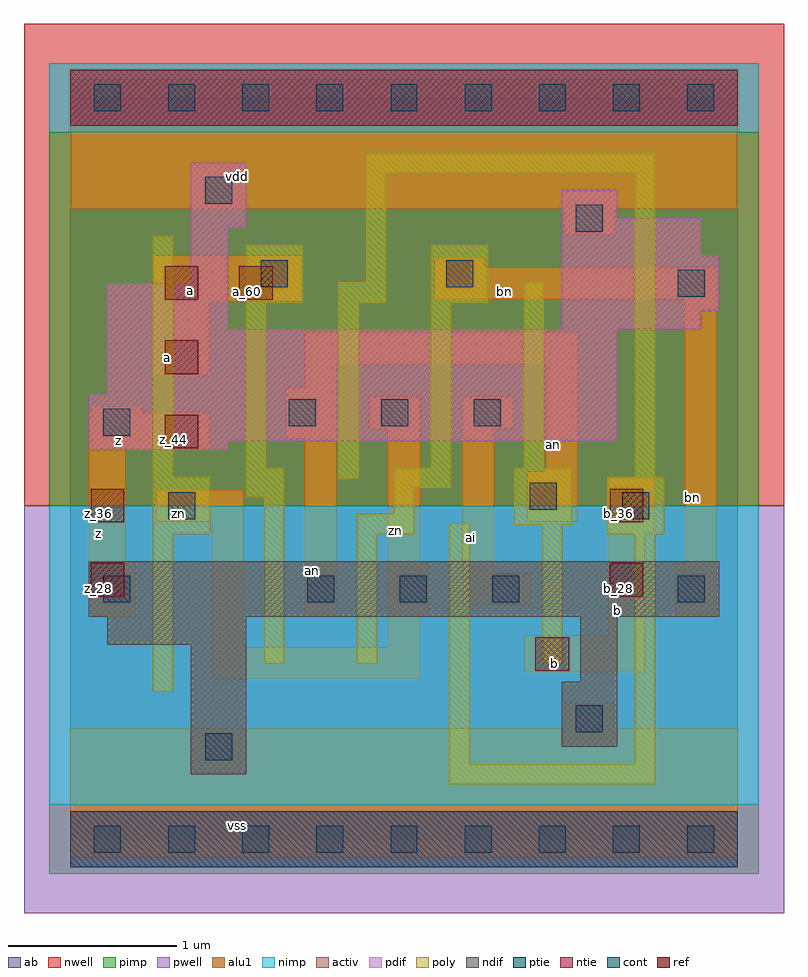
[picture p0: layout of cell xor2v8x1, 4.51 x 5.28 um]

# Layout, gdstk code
import gdstk
lib = gdstk.Library(unit=1e-6, precision=2.5e-09)
def R(c, l, rs):  # rectangles x0, y0, x1, y1
    for r in rs: c.add(gdstk.rectangle(r[:2], r[2:], *l))
def A(c, l, x, y, w, h, nx, ny, dx, dy):  # array of equal rectangles
    R(c, l, [(x+i*dx, y+j*dy, x+i*dx+w, y+j*dy+h) for i in range(nx) for j in range(ny)])
ndif = (3, 0)
pdif = (4, 0)
ntie = (5, 0)
ptie = (6, 0)
ref = (24, 0)
cont = (25, 0)
pwell = (41, 0)
nwell = (42, 0)
activ = (43, 0)
pimp = (44, 0)
nimp = (45, 0)
poly = (46, 0)
alu1 = (49, 0)
ab = (63, 0)

xor2v8x1 = lib.new_cell('xor2v8x1')
R(xor2v8x1, ndif, [(0.715,0.385,1.045,1.155), (2.915,0.55,3.245,0.935), (3.025,0.935,3.245,1.32), (0.22,1.155,1.045,1.32), (0.11,1.32,3.85,1.65)])
R(xor2v8x1, pdif, [(0.11,2.31,0.935,2.365), (0.11,2.365,3.245,2.64), (0.22,2.64,3.245,3.025), (0.22,3.025,0.935,3.3), (2.915,3.025,3.74,3.135), (2.915,3.135,3.85,3.465), (0.715,3.3,0.935,3.63), (2.915,3.465,3.74,3.685), (0.715,3.63,1.045,4.015), (2.915,3.685,3.245,3.85)])
R(xor2v8x1, ntie, [(0,4.235,3.96,4.565)])
R(xor2v8x1, ptie, [(0,-0.165,3.96,0.165)])
A(xor2v8x1, ref, 0.56, 2.32, 0.2, 0.2, 1, 3, 0, 0.44)
R(xor2v8x1, ref, [(2.76,1,2.96,1.2), (0.12,1.44,0.32,1.64), (3.2,1.44,3.4,1.64), (0.12,1.88,0.32,2.08), (3.2,1.88,3.4,2.08), (1,3.2,1.2,3.4)])
A(xor2v8x1, cont, 0.14, -0.08, 0.16, 0.16, 9, 2, 0.44, 4.4)
A(xor2v8x1, cont, 1.405, 1.405, 0.16, 0.16, 3, 1, 0.55, 0)
A(xor2v8x1, cont, 1.295, 2.45, 0.16, 0.16, 3, 1, 0.55, 0)
R(xor2v8x1, cont, [(0.8,0.47,0.96,0.63), (3,0.635,3.16,0.795), (0.195,1.405,0.355,1.565), (3.605,1.405,3.765,1.565), (0.58,1.9,0.74,2.06), (3.275,1.9,3.435,2.06), (2.725,1.955,2.885,2.115), (0.195,2.395,0.355,2.555), (3.605,3.22,3.765,3.38), (1.13,3.275,1.29,3.435), (2.23,3.275,2.39,3.435), (3,3.605,3.16,3.765), (0.8,3.77,0.96,3.93)])
R(xor2v8x1, pwell, [(-0.275,-0.44,4.235,1.98)])
R(xor2v8x1, nwell, [(-0.275,1.98,4.235,4.84)])
R(xor2v8x1, activ, [(0,-0.165,3.96,0.165), (0.715,0.385,1.045,1.155), (2.915,0.55,3.245,0.935), (3.025,0.935,3.245,1.32), (0.22,1.155,1.045,1.32), (0.11,1.32,3.85,1.65), (0.11,2.31,0.935,2.365), (0.11,2.365,3.245,2.64), (0.22,2.64,3.245,3.025), (0.22,3.025,0.935,3.3), (2.915,3.025,3.74,3.135), (2.915,3.135,3.85,3.465), (0.715,3.3,0.935,3.63), (2.915,3.465,3.74,3.685), (0.715,3.63,1.045,4.015), (2.915,3.685,3.245,3.85), (0,4.235,3.96,4.565)])
R(xor2v8x1, pimp, [(-0.125,-0.205,4.085,0.205), (-0.125,1.98,4.085,4.195)])
R(xor2v8x1, nimp, [(-0.125,0.205,4.085,1.98), (-0.125,4.195,4.085,4.605)])
R(xor2v8x1, poly, [(2.25,0.325,3.47,0.445), (2.25,0.445,2.37,1.875), (3.35,0.445,3.47,1.81), (0.49,0.875,0.61,1.81), (1.15,1.04,1.27,2.03), (1.7,1.04,1.82,1.81), (2.8,1.04,2.92,1.865), (0.49,1.81,0.83,2.15), (1.7,1.81,2.04,1.93), (3.185,1.81,3.525,2.15), (2.635,1.865,2.975,2.205), (1.92,1.93,2.04,2.085), (1.04,2.03,1.27,2.205), (1.92,2.085,2.26,2.205), (1.59,2.14,1.71,3.185), (0.49,2.15,0.61,3.58), (3.35,2.15,3.47,3.955), (1.04,2.205,1.16,3.185), (2.14,2.205,2.26,3.185), (2.69,2.205,2.81,3.305), (1.04,3.185,1.38,3.525), (1.59,3.185,1.875,3.305), (2.14,3.185,2.48,3.525), (1.755,3.305,1.875,3.955), (1.755,3.955,3.47,4.075)])
R(xor2v8x1, alu1, [(0,-0.11,3.96,0.66), (2.93,0.66,3.23,0.81), (0.84,0.95,2.075,1.14), (2.695,0.99,3.41,1.21), (0.84,1.14,1.03,1.885), (1.885,1.14,2.075,1.335), (3.19,1.21,3.41,1.815), (0.11,1.32,0.385,1.65), (1.39,1.335,1.58,2.38), (1.885,1.335,2.13,1.635), (3.59,1.335,3.835,1.635), (2.325,1.39,2.735,1.58), (2.325,1.58,2.515,2.435), (1.885,1.635,2.075,2.435), (3.645,1.635,3.835,3.205), (0.11,1.65,0.33,2.31), (3.19,1.815,3.465,2.145), (0.51,1.885,1.03,2.075), (2.71,1.885,3.01,2.185), (2.82,2.185,3.01,2.82), (0.11,2.31,0.825,2.53), (1.28,2.38,1.58,2.68), (1.775,2.435,2.075,2.625), (2.325,2.435,2.625,2.625), (0.125,2.53,0.425,2.57), (1.39,2.68,1.58,2.82), (0.495,2.75,0.825,3.19), (1.39,2.82,3.01,3.01), (0.495,3.19,1.375,3.465), (2.16,3.205,3.835,3.395), (2.16,3.395,2.46,3.45), (2.93,3.59,3.23,3.74), (0,3.74,3.96,4.51)])
R(xor2v8x1, ab, [(0,0,3.96,4.4)])
xor2v8x1.add(gdstk.Label('vss', (0.99,0.0825), layer=49, texttype=0))
xor2v8x1.add(gdstk.Label('b', (2.8725,1.045), layer=49, texttype=0))
xor2v8x1.add(gdstk.Label('bn', (3.6925,2.0275), layer=49, texttype=0))
xor2v8x1.add(gdstk.Label('b', (3.245,1.36), layer=49, texttype=0))
xor2v8x1.add(gdstk.Label('an', (2.8675,2.3425), layer=49, texttype=0))
xor2v8x1.add(gdstk.Label('ai', (2.3725,1.7925), layer=49, texttype=0))
xor2v8x1.add(gdstk.Label('zn', (1.9325,1.835), layer=49, texttype=0))
xor2v8x1.add(gdstk.Label('an', (1.4375,1.595), layer=49, texttype=0))
xor2v8x1.add(gdstk.Label('zn', (0.64,1.9325), layer=49, texttype=0))
xor2v8x1.add(gdstk.Label('z', (0.165,1.815), layer=49, texttype=0))
xor2v8x1.add(gdstk.Label('z', (0.2875,2.365), layer=49, texttype=0))
xor2v8x1.add(gdstk.Label('a', (0.5775,2.86), layer=49, texttype=0))
xor2v8x1.add(gdstk.Label('bn', (2.5775,3.2525), layer=49, texttype=0))
xor2v8x1.add(gdstk.Label('a', (0.715,3.2575), layer=49, texttype=0))
xor2v8x1.add(gdstk.Label('vdd', (0.99,3.9325), layer=49, texttype=0))
xor2v8x1.add(gdstk.Label('b_36', (3.25,1.93), layer=24, texttype=0))
xor2v8x1.add(gdstk.Label('b_20', (2.81,1.05), layer=24, texttype=0))
xor2v8x1.add(gdstk.Label('b_28', (3.25,1.49), layer=24, texttype=0))
xor2v8x1.add(gdstk.Label('a_60', (1.05,3.25), layer=24, texttype=0))
xor2v8x1.add(gdstk.Label('a_60', (0.61,3.25), layer=24, texttype=0))
xor2v8x1.add(gdstk.Label('z_44', (0.61,2.37), layer=24, texttype=0))
xor2v8x1.add(gdstk.Label('z_28', (0.17,1.49), layer=24, texttype=0))
xor2v8x1.add(gdstk.Label('z_36', (0.17,1.93), layer=24, texttype=0))
xor2v8x1.add(gdstk.Label('a_52', (0.61,2.81), layer=24, texttype=0))

lib.write_gds('xor2v8x1.gds')
